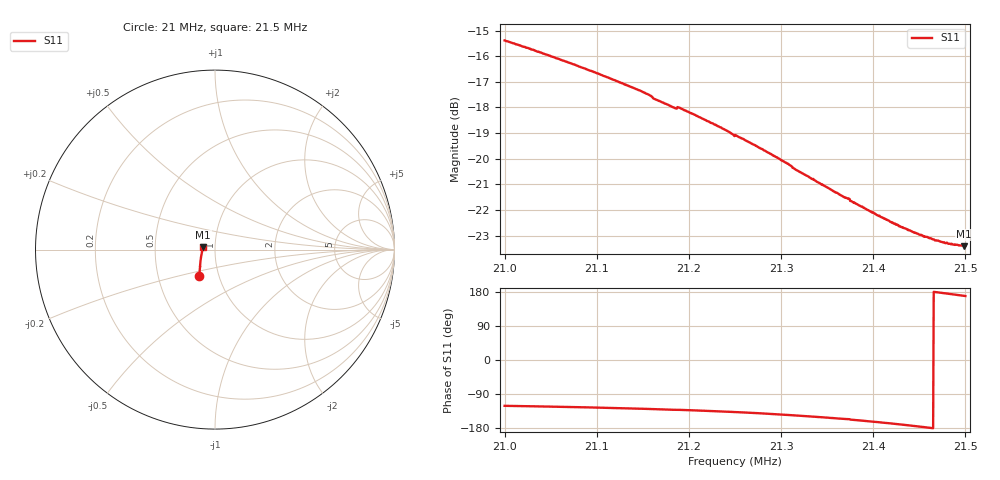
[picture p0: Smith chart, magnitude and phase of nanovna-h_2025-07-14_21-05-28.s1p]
! NanoVNA-App by OneOfEleven et al v1.1.209 (+OD18)
! Date: 2025-07-14 21:05:30
! Start: 21MHz Stop: 21,5MHz Points: 801
! S-Parameter data: F S11
# Hz S RI R 50
!  Frequency  S11_Real  S11_Imag
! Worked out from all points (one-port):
!   801 points, 21 MHz to 21.5 MHz, reference 50 ohm
!   lowest |S11| = -23.4 dB at 21.498 MHz (marker M1), VSWR 1.14, Z = 43.8 + j1.06 ohm
!   |S11| at or under -10 dB: start of sweep to end of sweep
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2.1e7  -0.0875 -0.1458
2.102438e7  -0.087 -0.1396
2.10625e7  -0.0861 -0.1295
2.1125e7  -0.085 -0.1125
2.114875e7  -0.0844 -0.1057
2.11575e7  -0.0841 -0.1029
2.116375e7  -0.0836 -0.1002
2.118375e7  -0.0832 -0.0944
2.11875e7  -0.0834 -0.0946
2.119e7  -0.0835 -0.0939
2.1205e7  -0.083 -0.0895
2.123688e7  -0.0823 -0.0796
2.125e7  -0.0819 -0.0753
2.125812e7  -0.0816 -0.0728
2.128125e7  -0.0808 -0.0652
2.130812e7  -0.0799 -0.0561
2.13125e7  -0.0794 -0.0539
2.13175e7  -0.0792 -0.0522
2.135688e7  -0.0774 -0.0386
2.1375e7  -0.0763 -0.032
2.13775e7  -0.0763 -0.0311
2.140625e7  -0.0744 -0.021
2.14375e7  -0.0719 -0.00988
2.14525e7  -0.0708 -0.00447
2.146688e7  -0.0693 0.000657
2.148375e7  -0.0679 0.00679
2.149812e7  -0.0664 0.0121
2.15e7  -0.0663 0.0131
